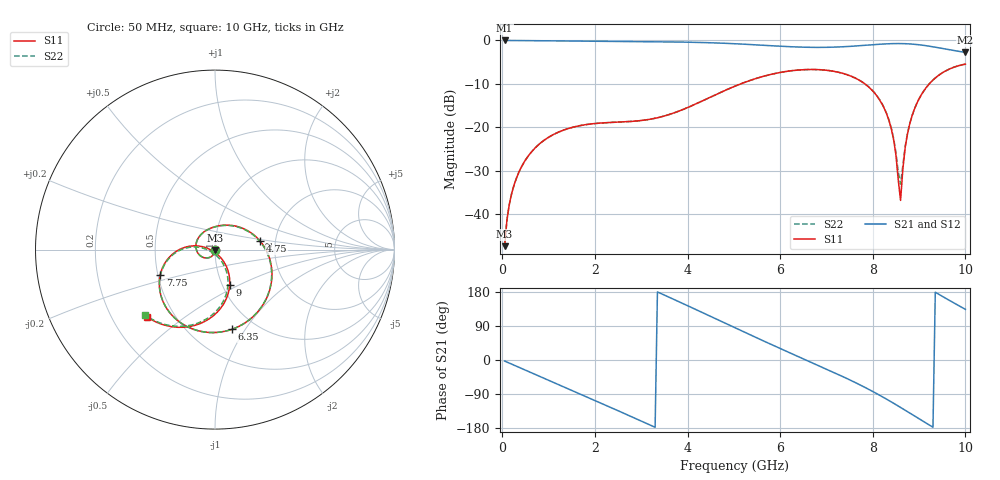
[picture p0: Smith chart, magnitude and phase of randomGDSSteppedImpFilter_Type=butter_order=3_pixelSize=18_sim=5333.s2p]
! freq	dB(S11)	phase(S11)	dB(S12)	phase(S12)
!  dB(S21)	phase(S21)	dB(S22)	phase(S22)
!S-par simulation data
#  GHz  S  DB  R 50
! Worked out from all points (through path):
!   200 points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, 50 MHz to 10 GHz, reference 50 ohm
!   highest |S21| = -0.01 dB at 50 MHz (marker M1); lowest = -2.7 dB at 10 GHz (marker M2)
!   group delay of S21, straight-line fit = 159 ps
!   lowest |S11| = -47.4 dB at 50 MHz (marker M3), VSWR 1.01, Z = 50 - j0.426 ohm
!   |S11| at or under -10 dB: start of sweep to 5.15 GHz; 7.827 GHz to 9.222 GHz (1.394 GHz wide, 16.4 % of centre)
!   |S22| runs from -47.4 to -5.5 dB; largest |S21 - S12| = 0
!   S11 on the Smith chart (normalised r, x): 50 MHz: 1.00, -0.01; 4.75 GHz: 1.67, +0.16; 6.35 GHz: 0.78, -0.87; 7.75 GHz: 0.51, -0.17; 9 GHz: 1.08, -0.45; 10 GHz: 0.35, -0.37
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0.05  -47.41 -91.6  -0.01 -2.7  -0.01 -2.7  -47.41 -91.6
0.2  -35.38 -100.2  -0.02 -10.8  -0.02 -10.8  -35.39 -100.3
0.5  -27.57 -116.6  -0.04 -26.8  -0.04 -26.8  -27.57 -116.7
1.15  -21.44 -152.3  -0.10 -61.5  -0.10 -61.5  -21.44 -152.7
1.75  -19.49 175.4  -0.16 -93.5  -0.16 -93.5  -19.50 174.8
2.65  -18.75 126.8  -0.23 -142.0  -0.23 -142.0  -18.76 125.7
3.4  -17.69 85.7  -0.30 176.9  -0.30 176.9  -17.69 84.2
4  -15.48 52.4  -0.40 143.4  -0.40 143.4  -15.48 51.0
4.75  -11.80 10.3  -0.63 100.8  -0.63 100.8  -11.80 9.3
5.05  -10.42 -6.6  -0.77 83.7  -0.77 83.7  -10.43 -7.4
5.75  -7.96 -45.5  -1.19 44.2  -1.19 44.2  -7.96 -46.0
6.35  -6.86 -78.0  -1.51 11.3  -1.51 11.3  -6.86 -78.3
6.7  -6.69 -96.7  -1.60 -7.7  -1.60 -7.7  -6.69 -96.9
7.75  -9.43 -154.9  -1.19 -67.2  -1.19 -67.2  -9.42 -154.3
8.35  -18.46 169.8  -0.76 -107.0  -0.76 -107.0  -18.35 173.0
8.5  -26.39 168.3  -0.72 -117.8  -0.72 -117.8  -25.81 176.6
8.6  -36.87 -107.4  -0.72 -125.1  -0.72 -125.1  -33.11 -114.7
8.65  -29.59 -60.5  -0.73 -128.9  -0.73 -128.9  -28.69 -73.7
8.75  -21.51 -54.0  -0.77 -136.3  -0.77 -136.3  -21.39 -60.2
9  -13.44 -67.4  -1.00 -155.2  -1.00 -155.2  -13.44 -70.2
9.45  -7.83 -98.5  -1.75 171.7  -1.75 171.7  -7.84 -100.1
10  -5.46 -135.4  -2.75 133.7  -2.75 133.7  -5.47 -136.7
